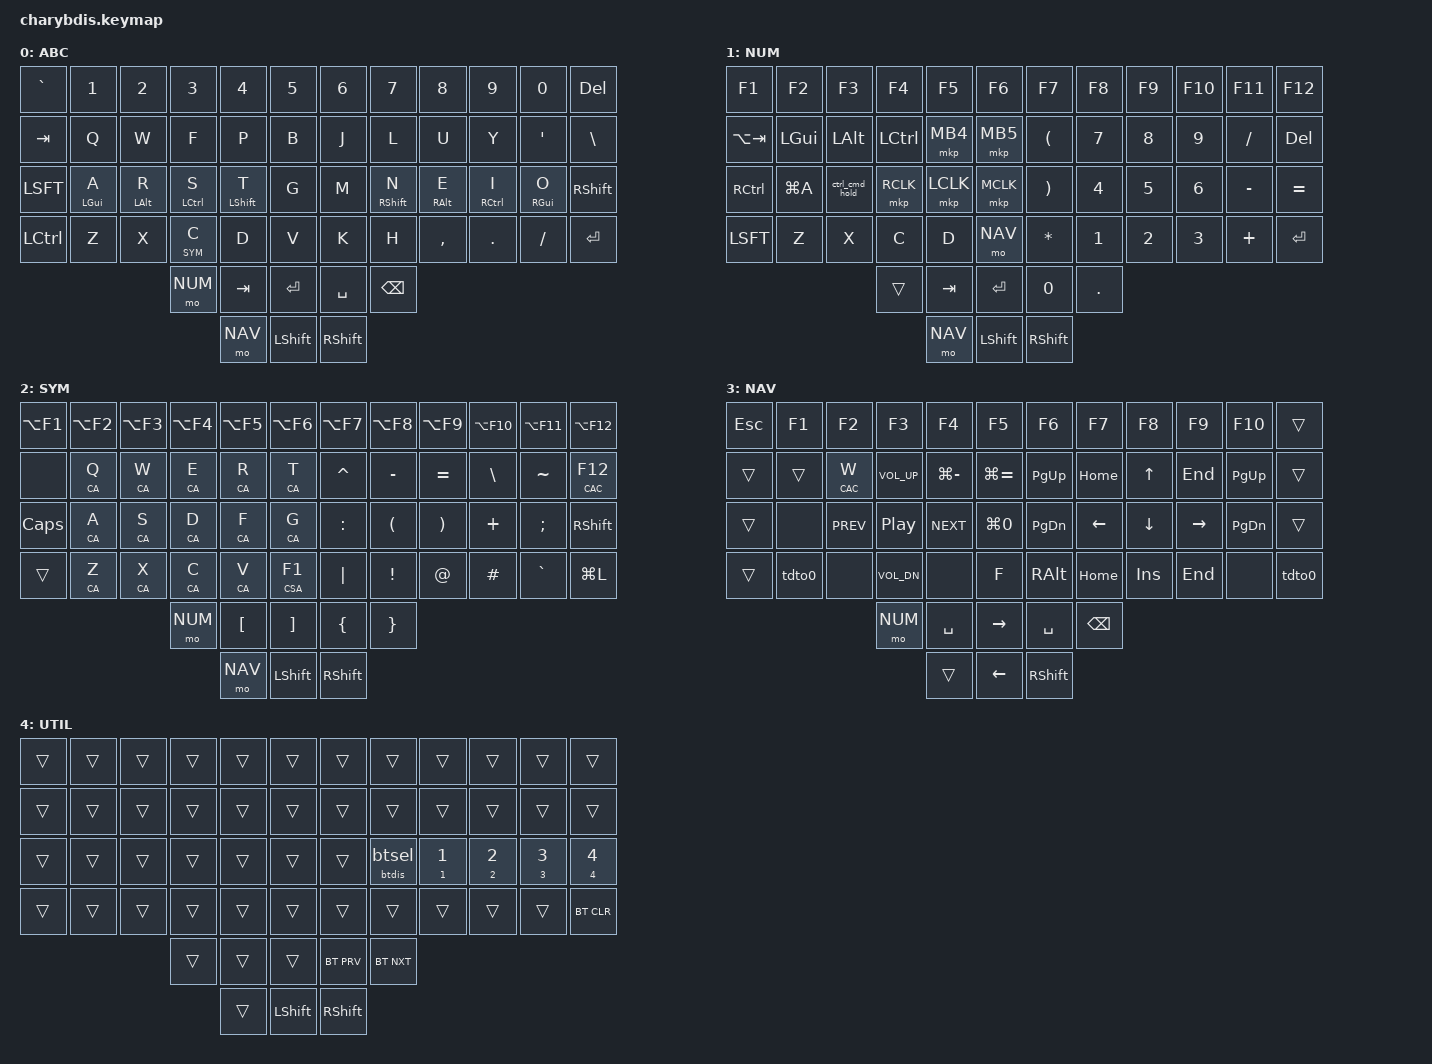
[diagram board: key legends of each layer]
#include <dt-bindings/zmk/mouse.h>
#include <input/processors.dtsi>
#include <zephyr/dt-bindings/input/input-event-codes.h>
#include <behaviors.dtsi>
#include <dt-bindings/zmk/bt.h>
#include <dt-bindings/zmk/keys.h>
#include <dt-bindings/zmk/pointing.h>
#include <dt-bindings/zmk/rgb.h>

#define ZMK_POINTING_DEFAULT_MOVE_VAL 1000 // 600
#define ZMK_POINTING_DEFAULT_SCRL_VAL 12   // 10

// Layer definitions
#define ABC 0
#define NUM 1
#define SYM 2
#define NAV 3
#define UTIL 4

&lt {
    tapping-term-ms = <200>;
    flavor = "balanced";
    quick-tap-ms = <150>;
};
&mt {
    quick-tap-ms = <200>;
    flavor = "tap-preferred";
    tapping-term-ms = <170>;
};

&mmv_input_listener { input-processors = <&zip_xy_scaler 2 1>; };

&msc_input_listener { input-processors = <&zip_scroll_scaler 2 1>; };

&msc {
    acceleration-exponent = <0>;      // 0
    time-to-max-speed-ms = <100>;       // 300
    delay-ms = <0>;                   // 0
};

&mmv {
    time-to-max-speed-ms = <500>;
    acceleration-exponent = <1>;
    trigger-period-ms = <16>;
};

/ {

    behaviors {
        // Basic hold-tap. Used in home row mods above (in defines)
		ht: hold_tap {
			label = "hold_tap";
            compatible = "zmk,behavior-hold-tap";
            #binding-cells = <2>;
            flavor = "tap-preferred";
            tapping-term-ms = <180>;
            quick-tap-ms = <100>;
            require-prior-idle-ms = <100>;
            bindings = <&kp>, <&kp>;
        };

        // Hold-tap behavior for layer with tap-preferred
        blt: blt {
            compatible = "zmk,behavior-hold-tap";
            #binding-cells = <2>;
            flavor = "tap-preferred";
            tapping-term-ms = <200>;
            quick-tap-ms = <300>;
            require-prior-idle-ms = <100>;
            bindings = <&mo>, <&kp>;
        };
    
        btht: bluetooth_hold_tap {
            compatible = "zmk,behavior-hold-tap";
            #binding-cells = <2>;
            flavor = "tap-preferred";
            tapping-term-ms = <2000>;
            require-prior-idle-ms = <100>;
            bindings = <&btdis>, <&btsel>;
        };

        tdto0: tap_dance_to_abc_layer {
            compatible = "zmk,behavior-tap-dance";
            #binding-cells = <0>;
            tapping-term-ms = <200>;
            bindings = <&none>, <&to ABC>;
        };

    };

    macros {
        // Ctrl+Alt+Cmd macro
        CAC: CAC {
            compatible = "zmk,behavior-macro-one-param";
            #binding-cells = <1>;
            bindings
                = <&macro_press &kp LCTRL &kp LALT &kp LGUI>
                , <&macro_param_1to1>
                , <&macro_tap &kp MACRO_PLACEHOLDER>
                , <&macro_release &kp LCTRL &kp LALT &kp LGUI>
                ;
        };

        // Ctrl+Shift+Alt macro
        CSA: CSA {
            compatible = "zmk,behavior-macro-one-param";
            #binding-cells = <1>;
            bindings
                = <&macro_press &kp LCTRL &kp LSHIFT &kp LALT>
                , <&macro_param_1to1>
                , <&macro_tap &kp MACRO_PLACEHOLDER>
                , <&macro_release &kp LCTRL &kp LSHIFT &kp LALT>
                ;
        };

        // Ctrl+Alt macro
        CA: CA {
            compatible = "zmk,behavior-macro-one-param";
            #binding-cells = <1>;
            bindings
                = <&macro_press &kp LCTRL &kp LALT>
                , <&macro_param_1to1>
                , <&macro_tap &kp MACRO_PLACEHOLDER>
                , <&macro_release &kp LCTRL &kp LALT>
                ;
        };

        // Hold Ctrl+Cmd+Left Click while key is pressed (for mouse drag window actions)
        ctrl_cmd_hold: ctrl_cmd_hold {
            compatible = "zmk,behavior-macro";
            wait-ms = <0>;
            tap-ms = <10>;
            #binding-cells = <0>;
            bindings
                = <&macro_press &kp LCTRL &kp LGUI &mkp LCLK>
                , <&macro_pause_for_release>
                , <&macro_release &mkp LCLK &kp LCTRL &kp LGUI>
                ;
        };
    
        btsel: bluetooth_select {
            compatible = "zmk,behavior-macro-one-param";
            #binding-cells = <1>;
            bindings
                = <&macro_param_1to2>
                , <&macro_tap &bt BT_SEL MACRO_PLACEHOLDER>
                ;
        };

        btdis: bluetooth_disconnect {
            compatible = "zmk,behavior-macro-one-param";
            #binding-cells = <1>;
            bindings
                = <&macro_param_1to2>
                , <&macro_tap &bt BT_DISC MACRO_PLACEHOLDER>
                ;
        };
    }; // End of macros

    conditional_layers {
	    compatible = "zmk,conditional-layers";
		
	    tri_layer {
		    if-layers = <NUM NAV>;
		    then-layer = <UTIL>;
	    };
    };

    
    combos {
    compatible = "zmk,combos";
    timeout-ms = <20>;
    require-prior-idle-ms = <250>;

        // Studio Unlock Combo - all three right thumb keys
        combo_studio_unlock {
            timeout-ms = <50>;
            key-positions = <51 52 55>;
            bindings = <&studio_unlock>;
        };
        
        combo_st_left_click {
            timeout-ms = <25>;
            require-prior-idle-ms = <125>;
            key-positions = <27 28>;
            layers = <ABC NUM NAV>;
            bindings = <&mkp LCLK>;
        };
        combo_cd_right_click {
            timeout-ms = <25>;
            require-prior-idle-ms = <125>;
            key-positions = <39 40>;
            layers = <ABC NUM NAV>;
            bindings = <&mkp RCLK>;
        };
        combo_fp_caps_word {
            timeout-ms = <30>;
            key-positions = <15 16>;
            bindings = <&caps_word>;
        };
        combo_lu_del {
            timeout-ms = <30>;
            key-positions = <19 20>;
            bindings = <&kp DEL>;
        };
        combo_tic1_esc {
            timeout-ms = <30>;
            key-positions = <0 1>;
            bindings = <&kp ESC>;
        };
        combo_hdot_navlock {
            timeout-ms = <30>;
            key-positions = <26 28>;
            bindings = <&to NAV>;
        };
        combo_ztick_navlock {
            timeout-ms = <30>;
            key-positions = <0 36>;
            bindings = <&to NAV>;
        };

    }; // End of combos



    keymap {
        compatible = "zmk,keymap";

        default_layer {
            label = "ABC";
            display-name = "ABC";
            bindings = <

// ╭─────────────┬─────────────┬─────────────┬─────────────┬─────────────┬─────────────╮   ╭─────────────┬─────────────┬─────────────┬─────────────┬─────────────┬─────────────╮
//    0             1             2             3             4             5                 6             7             8             9            10            11
// ├─────────────┼─────────────┼─────────────┼─────────────┼─────────────┼─────────────┤   ├─────────────┼─────────────┼─────────────┼─────────────┼─────────────┼─────────────┤
//   12            13            14            15            16            17                18            19            20            21            22            23
// ├─────────────┼─────────────┼─────────────┼─────────────┼─────────────┼─────────────┤   ├─────────────┼─────────────┼─────────────┼─────────────┼─────────────┼─────────────┤
//   24            25            26            27            28            29                30            31            32            33            34            35
// ├─────────────┼─────────────┼─────────────┼─────────────┼─────────────┼─────────────┤   ├─────────────┼─────────────┼─────────────┼─────────────┼─────────────┼─────────────┤
//   36            37            38            39            40            41                42            43            44            45            46            47
// ╰─────────────┴─────────────┴─────────────┴─────────────┴─────────────┴─────────────╯   ╰─────────────┴─────────────┴─────────────┴─────────────┴─────────────┴─────────────╯
//                                          ╭─────────────┬─────────────┬─────────────╮    ╭─────────────┬─────────────╮
//                                             48           49            50                 51            52
//                                          ╰─────────────┼─────────────┼─────────────┤    ├─────────────┼─────────────╯
//                                                          53            54                 55
//                                                        ╰─────────────┴─────────────╯    ╰─────────────╯


// ╭─────────────┬─────────────┬─────────────┬─────────────┬─────────────┬─────────────╮   ╭─────────────┬─────────────┬─────────────┬─────────────┬─────────────┬─────────────╮
    &kp GRAVE     &kp N1        &kp N2        &kp N3        &kp N4        &kp N5            &kp N6        &kp N7        &kp N8        &kp N9        &kp N0        &kp DEL
// ├─────────────┼─────────────┼─────────────┼─────────────┼─────────────┼─────────────┤   ├─────────────┼─────────────┼─────────────┼─────────────┼─────────────┼─────────────┤
    &kp TAB       &kp Q         &kp W         &kp F         &kp P         &kp B             &kp J         &kp L         &kp U         &kp Y         &kp SQT       &kp BSLH
// ├─────────────┼─────────────┼─────────────┼─────────────┼─────────────┼─────────────┤   ├─────────────┼─────────────┼─────────────┼─────────────┼─────────────┼─────────────┤
    &kp LSFT      &ht LGUI A    &ht LALT R    &ht LCTRL S   &ht LSHFT T   &kp G             &kp M         &ht RSHFT N   &ht RALT E    &ht RCTRL I   &ht RGUI O    &kp RSHFT
// ├─────────────┼─────────────┼─────────────┼─────────────┼─────────────┼─────────────┤   ├─────────────┼─────────────┼─────────────┼─────────────┼─────────────┼─────────────┤
    &kp LCTRL     &kp Z         &kp X         &lt SYM C         &kp D         &kp V             &kp K         &kp H         &kp COMMA     &kp DOT       &kp FSLH      &kp ENTER
// ╰─────────────┴─────────────┴─────────────┴─────────────┴─────────────┴─────────────╯   ╰─────────────┴─────────────┴─────────────┴─────────────┴─────────────┴─────────────╯
//                                           ╭─────────────┬─────────────┬─────────────╮   ╭─────────────┬─────────────╮
                                              &mo NUM       &kp TAB       &kp ENTER         &kp SPACE     &kp BSPC
//                                           ╰─────────────┴─────────────┴─────────────╯   ╰─────────────┴─────────────╯
//                                                         ╭─────────────┬─────────────╮   ╭─────────────╮
                                                            &mo NAV       &kp LSHIFT        &kp RSHIFT
//                                                         ╰─────────────┴─────────────╯   ╰─────────────╯
            >;
        };

    num_layer {
      label = "NUM";
      display-name = "NUM";
      bindings = <
// ╭─────────────┬─────────────┬─────────────┬─────────────┬─────────────┬─────────────╮   ╭─────────────┬─────────────┬─────────────┬─────────────┬─────────────┬─────────────╮
    &kp F1        &kp F2        &kp F3        &kp F4        &kp F5            &kp F6        &kp F7        &kp F8        &kp F9        &kp F10       &kp F11       &kp F12
// ├─────────────┼─────────────┼─────────────┼─────────────┼─────────────┼─────────────┤   ├─────────────┼─────────────┼─────────────┼─────────────┼─────────────┼─────────────┤
    &kp LA(TAB)   &kp LGUI      &kp LALT      &kp LCTRL     &mkp MB4      &mkp MB5          &kp LPAR      &kp N7         &kp N8        &kp N9       &kp FSLH      &kp DEL
// ├─────────────┼─────────────┼─────────────┼─────────────┼─────────────┼─────────────┤   ├─────────────┼─────────────┼─────────────┼─────────────┼─────────────┼─────────────┤
    &kp RCTRL     &kp LG(A)     &ctrl_cmd_hold &mkp RCLK    &mkp LCLK     &mkp MCLK         &kp RPAR      &kp N4         &kp N5         &kp N6      &kp MINUS     &kp EQUAL
// ├─────────────┼─────────────┼─────────────┼─────────────┼─────────────┼─────────────┤   ├─────────────┼─────────────┼─────────────┼─────────────┼─────────────┼─────────────┤
    &kp LSFT      &kp Z         &kp X         &kp C         &kp D         &mo NAV           &kp STAR      &kp N1         &kp N2         &kp N3      &kp PLUS      &kp ENTER
// ╰─────────────┴─────────────┴─────────────┴─────────────┴─────────────┴─────────────╯   ╰─────────────┴─────────────┴─────────────┴─────────────┴─────────────┴─────────────╯
//                                           ╭─────────────┬─────────────┬─────────────╮   ╭─────────────┬─────────────╮
                                              &trans        &kp TAB       &kp ENTER         &kp N0        &kp DOT
//                                           ╰─────────────┴─────────────┴─────────────╯   ╰─────────────┴─────────────╯
//                                                         ╭─────────────┬─────────────╮   ╭─────────────╮
                                                            &mo NAV       &kp LSHIFT        &kp RSHIFT
//                                                         ╰─────────────┴─────────────╯   ╰─────────────╯
      >;
    };

    sym_layer {
      label = "SYM";
      display-name = "SYM";
      bindings = <
// ╭─────────────┬─────────────┬─────────────┬─────────────┬─────────────┬─────────────╮   ╭─────────────┬─────────────┬─────────────┬─────────────┬─────────────┬─────────────╮
    &kp LA(F1)    &kp LA(F2)    &kp LA(F3)    &kp LA(F4)    &kp LA(F5)    &kp LA(F6)        &kp LA(F7)    &kp LA(F8)    &kp LA(F9)    &kp LA(F10)   &kp LA(F11)   &kp LA(F12)
// ├─────────────┼─────────────┼─────────────┼─────────────┼─────────────┼─────────────┤   ├─────────────┼─────────────┼─────────────┼─────────────┼─────────────┼─────────────┤
    &none         &CA Q         &CA W         &CA E         &CA R         &CA T             &kp CARET     &kp MINUS     &kp EQUAL     &kp BSLH      &kp TILDE     &CAC F12
// ├─────────────┼─────────────┼─────────────┼─────────────┼─────────────┼─────────────┤   ├─────────────┼─────────────┼─────────────┼─────────────┼─────────────┼─────────────┤
    &kp CAPS      &CA A         &CA S         &CA D         &CA F         &CA G             &kp COLON     &kp LPAR      &kp RPAR      &kp PLUS      &kp SEMI      &kp RSHFT
// ├─────────────┼─────────────┼─────────────┼─────────────┼─────────────┼─────────────┤   ├─────────────┼─────────────┼─────────────┼─────────────┼─────────────┼─────────────┤
    &trans        &CA Z         &CA X         &CA C         &CA V         &CSA F1           &kp PIPE      &kp EXCL      &kp AT        &kp HASH      &kp GRAVE     &kp LG(L)
// ╰─────────────┴─────────────┴─────────────┴─────────────┴─────────────┴─────────────╯   ╰─────────────┴─────────────┴─────────────┴─────────────┴─────────────┴─────────────╯
//                                           ╭─────────────┬─────────────┬─────────────╮   ╭─────────────┬─────────────╮
                                              &mo NUM       &kp LBKT      &kp RBKT          &kp LBRC      &kp RBRC
//                                           ╰─────────────┴─────────────┴─────────────╯   ╰─────────────┴─────────────╯
//                                                         ╭─────────────┬─────────────╮   ╭─────────────╮
                                                            &mo NAV       &kp LSHIFT        &kp RSHIFT
//                                                         ╰─────────────┴─────────────╯   ╰─────────────╯
      >;
    };

    nav_layer {
      label = "NAV";
      display-name = "NAV";
      bindings = <
// ╭─────────────┬─────────────┬─────────────┬─────────────┬─────────────┬─────────────╮   ╭─────────────┬─────────────┬─────────────┬─────────────┬─────────────┬─────────────╮
    &kp ESC       &kp F1        &kp F2        &kp F3        &kp F4        &kp F5            &kp F6        &kp F7        &kp F8        &kp F9        &kp F10       &trans
// ├─────────────┼─────────────┼─────────────┼─────────────┼─────────────┼─────────────┤   ├─────────────┼─────────────┼─────────────┼─────────────┼─────────────┼─────────────┤
    &trans        &trans       &CAC W        &kp C_VOL_UP  &kp LG(MINUS) &kp LG(EQUAL)      &kp PG_UP     &kp HOME      &kp UP        &kp END       &kp PG_UP     &trans
// ├─────────────┼─────────────┼─────────────┼─────────────┼─────────────┼─────────────┤   ├─────────────┼─────────────┼─────────────┼─────────────┼─────────────┼─────────────┤
    &trans        &none         &kp C_PREV    &kp C_PP      &kp C_NEXT    &kp LG(N0)        &kp PG_DN     &kp LEFT      &kp DOWN      &kp RIGHT     &kp PG_DN     &trans
// ├─────────────┼─────────────┼─────────────┼─────────────┼─────────────┼─────────────┤   ├─────────────┼─────────────┼─────────────┼─────────────┼─────────────┼─────────────┤
    &trans        &tdto0        &none         &kp C_VOL_DN  &none         &kp F             &kp RALT      &kp HOME      &kp INS       &kp END       &none         &tdto0
// ╰─────────────┴─────────────┴─────────────┴─────────────┴─────────────┴─────────────╯   ╰─────────────┴─────────────┴─────────────┴─────────────┴─────────────┴─────────────╯

//                                           ╭─────────────┬─────────────┬─────────────╮   ╭─────────────┬─────────────╮
                                              &mo NUM       &kp SPACE     &kp RIGHT         &kp SPACE     &kp BSPC
//                                           ╰─────────────┴─────────────┴─────────────╯   ╰─────────────┴─────────────╯
//                                                         ╭─────────────┬─────────────╮   ╭─────────────╮
                                                            &trans        &kp LEFT          &kp RSHIFT
//                                                         ╰─────────────┴─────────────╯   ╰─────────────╯
      >;
    };

    util_layer {
      label = "UTIL";
      display-name = "UTIL";
      bindings = <
// ╭─────────────┬─────────────┬─────────────┬─────────────┬─────────────┬─────────────╮   ╭─────────────┬─────────────┬─────────────┬─────────────┬─────────────┬─────────────╮
    &trans        &trans        &trans        &trans        &trans        &trans            &trans        &trans        &trans        &trans        &trans        &trans
// ├─────────────┼─────────────┼─────────────┼─────────────┼─────────────┼─────────────┤   ├─────────────┼─────────────┼─────────────┼─────────────┼─────────────┼─────────────┤
    &trans        &trans        &trans        &trans        &trans        &trans            &trans        &trans        &trans        &trans        &trans        &trans
// ├─────────────┼─────────────┼─────────────┼─────────────┼─────────────┼─────────────┤   ├─────────────┼─────────────┼─────────────┼─────────────┼─────────────┼─────────────┤
    &trans        &trans        &trans        &trans        &trans        &trans            &trans        &btht 0 0     &btht 1 1     &btht 2 2     &btht 3 3     &btht 4 4
// ├─────────────┼─────────────┼─────────────┼─────────────┼─────────────┼─────────────┤   ├─────────────┼─────────────┼─────────────┼─────────────┼─────────────┼─────────────┤
    &trans        &trans        &trans        &trans        &trans        &trans            &trans        &trans        &trans        &trans        &trans        &bt BT_CLR
// ╰─────────────┴─────────────┴─────────────┴─────────────┴─────────────┴─────────────╯   ╰─────────────┴─────────────┴─────────────┴─────────────┴─────────────┴─────────────╯

//                                           ╭─────────────┬─────────────┬─────────────╮   ╭─────────────┬─────────────╮
                                              &trans        &trans        &trans            &bt BT_PRV    &bt BT_NXT
//                                           ╰─────────────┴─────────────┴─────────────╯   ╰─────────────┴─────────────╯
//                                                         ╭─────────────┬─────────────╮   ╭─────────────╮
                                                            &trans        &kp LSHIFT        &kp RSHIFT
//                                                         ╰─────────────┴─────────────╯   ╰─────────────╯
      >;
    };
  };
};
